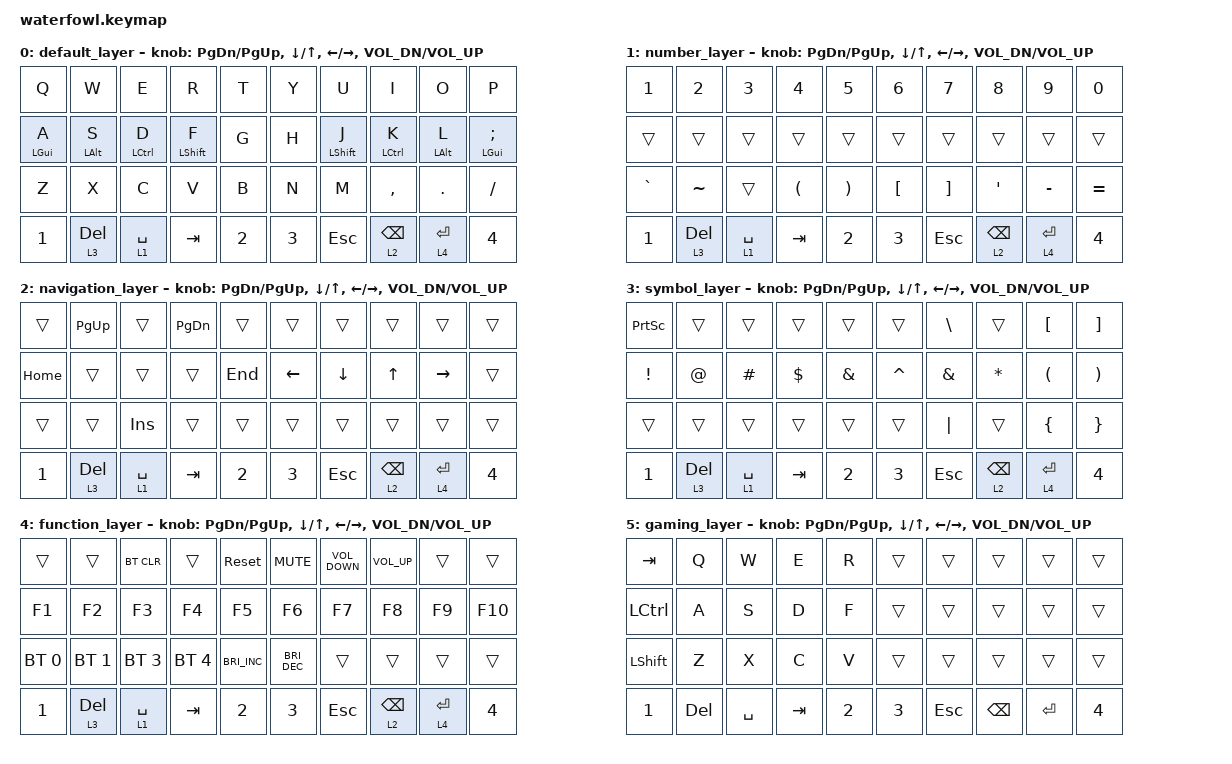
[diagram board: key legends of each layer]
/*
 * Copyright (c) 2022 The ZMK Contributors
 *
 * SPDX-License-Identifier: MIT
 */

#include <behaviors.dtsi>
#include <dt-bindings/zmk/keys.h>
#include <dt-bindings/zmk/bt.h>

/ {
    combos {
        compatible = "zmk,combos";

        combo_toggle_layer_5 {
            key-positions = <32 33 36 37>; // Replace with your 4 key positions
            bindings = <&tog 5>;
            timeout-ms = <50>;
            require-prior-idle-ms = <150>;
        };
    };
    keymap {
        compatible = "zmk,keymap";

        default_layer {
            /* QWERTY
             *
             * ,----------------------------------.                      ,----------------------------------.
             * |   Q  |   W  |   E  |   R  |   T  |                      |   Y  |   U  |   I  |   O  |   P  |
             * |------+------+------+------+------|                      |------+------+------+------+------|
             * |   A  |   S  |   D  |   F  |   G  |                      |   H  |   J  |   K  |   L  |   ;  |
             * |------+------+------+------+------|  ,-----.    ,-----.  |------+------+------+------+------|
             * |   Z  |   X  |   C  |   V  |   B  |  |  2  |    |  3  |  |   N  |   M  |   ,  |   .  |   /  |
             * `----------------------------------'  `-----'    `-----'  `----------------------------------'
             *          ,-----.   ,--------------------.            ,--------------------.   ,-----.
             *          |  1  |   | DEL | SPACE | TAB  |            |  ESC  | BS | ENTER |   |  4  |
             *          `-----'   `--------------------'            `--------------------'   `-----'
            */
            bindings = <
                &kp Q       &kp W       &kp E       &kp R       &kp T           &kp Y   &kp U       &kp I       &kp O       &kp P
                &mt LGUI A  &mt LALT S  &mt LCTRL D &mt LSHFT F &kp G           &kp H   &mt LSHFT J &mt LCTRL K &mt LALT L  &mt LGUI SEMI
                &kp Z       &kp X       &kp C       &kp V       &kp B           &kp N   &kp M       &kp COMMA   &kp DOT     &kp FSLH
                &kp N1      &lt 3 DEL   &lt 1 SPACE &kp TAB     &kp N2          &kp N3  &kp ESC     &lt 2 BSPC  &lt 4 RET   &kp N4
            >;

            sensor-bindings = <
                &inc_dec_kp PAGE_DOWN PAGE_UP
                &inc_dec_kp DOWN UP
                &inc_dec_kp LEFT RIGHT
                &inc_dec_kp C_VOL_DN C_VOL_UP
            >;
        };

        number_layer {
            /* NAVNUM
             *
             * ,----------------------------------.                      ,----------------------------------.
             * |   1  |   2  |   3  |   4  |  5   |                      |   6  |   7  |   8  |   9  |   0  |
             * |------+------+------+------+------|                      |------+------+------+------+------|
             * |      |      |      |      |      |                      |      |      |      |      |      |
             * |------+------+------+------+------|  ,-----.    ,-----.  |------+------+------+------+------|
             * |   `  |   ~  |      |  (   |  )   |  |  2  |    |  3  |  |   [  |  ]   |   '  |   -  |   =  |
             * `----------------------------------'  `-----'    `-----'  `----------------------------------'
             *          ,-----.   ,--------------------.            ,--------------------.   ,-----.
             *          |  1  |   | DEL | SPACE | TAB  |            |  ESC  | BS | ENTER |   |  4  |
             *          `-----'   `--------------------'            `--------------------'   `-----'
            */
            bindings = <
                &kp N1      &kp N2      &kp N3      &kp N4      &kp N5          &kp N6      &kp N7      &kp N8              &kp N9      &kp N0
                &trans      &trans      &trans      &trans      &trans          &trans      &trans      &trans              &trans      &trans
                &kp GRAVE   &kp TILDE   &trans      &kp LPAR    &kp RPAR        &kp LBKT    &kp RBKT    &kp SINGLE_QUOTE    &kp MINUS   &kp EQUAL
                &kp N1      &lt 3 DEL   &lt 1 SPACE &kp TAB     &kp N2          &kp N3      &kp ESC     &lt 2 BSPC          &lt 4 RET   &kp N4
            >;

            sensor-bindings = <
                &inc_dec_kp PAGE_DOWN PAGE_UP
                &inc_dec_kp DOWN UP
                &inc_dec_kp LEFT RIGHT
                &inc_dec_kp C_VOL_DN C_VOL_UP
            >;
        };
        navigation_layer {
            /* NAVNUM
             *
             * ,----------------------------------.                      ,----------------------------------.
             * |      | PgUp |      | PgDn |      |                      |      |      |      |      |      |
             * |------+------+------+------+------|                      |------+------+------+------+------|
             * | Home |      |      |      | End  |                      | Left | Down |  Up  | Right|      |
             * |------+------+------+------+------|  ,-----.    ,-----.  |------+------+------+------+------|
             * |      |      |  INS |      |      |  |  2  |    |  3  |  |      |      |      |      |      |
             * `----------------------------------'  `-----'    `-----'  `----------------------------------'
             *          ,-----.   ,--------------------.            ,--------------------.   ,-----.
             *          |  1  |   | DEL | SPACE | MO(3)|            |  ESC  | BS | ENTER |   |  4  |
             *          `-----'   `--------------------'            `--------------------'   `-----'
            */
            bindings = <
                &trans      &kp PG_UP   &trans      &kp PG_DN   &trans                  &trans      &trans      &trans      &trans      &trans
                &kp HOME    &trans      &trans      &trans      &kp END                 &kp LEFT    &kp DOWN    &kp UP      &kp RIGHT   &trans
                &trans      &trans      &kp INS     &trans      &trans                  &trans      &trans      &trans      &trans      &trans
                &kp N1      &lt 3 DEL   &lt 1 SPACE &kp TAB     &kp N2                  &kp N3      &kp ESC     &lt 2 BSPC  &lt 4 RET   &kp N4
            >;

            sensor-bindings = <
                &inc_dec_kp PAGE_DOWN PAGE_UP
                &inc_dec_kp DOWN UP
                &inc_dec_kp LEFT RIGHT
                &inc_dec_kp C_VOL_DN C_VOL_UP
            >;
        };

        symbol_layer {
            /* SYM
             *
             * ,----------------------------------.                      ,----------------------------------.
             * | PrtSc|      |      |      |      |                      |      |   \  |      |   [  |   ]  |
             * |------+------+------+------+------|                      |------+------+------+------+------|
             * |   !  |   @  |   #  |   $  |   %  |                      |   ^  |   &  |   *  |   (  |   )  |
             * |------+------+------+------+------|  ,-----.    ,-----.  |------+------+------+------+------|
             * |      |      |      |      |      |  |  2  |    |  3  |  |      |   |  |      |   {  |   }  |
             * `----------------------------------'  `-----'    `-----'  `----------------------------------'
             *          ,-----.   ,--------------------.            ,--------------------.   ,-----.
             *          |  1  |   | DEL | SPACE | TAB  |            |  ESC  | BS | ENTER |   |  4  |
             *          `-----'   `--------------------'            `--------------------'   `-----'
            */
            bindings = <
                &kp PRINTSCREEN &trans      &trans      &trans      &trans          &trans      &kp BSLH    &trans      &kp LBKT    &kp RBKT
                &kp EXCL        &kp AT      &kp HASH    &kp DLLR    &kp AMPS        &kp CARET   &kp AMPS    &kp ASTRK   &kp LPAR    &kp RPAR
                &trans          &trans      &trans      &trans      &trans          &trans      &kp PIPE    &trans      &kp LBRC    &kp RBRC
                &kp N1          &lt 3 DEL   &lt 1 SPACE &kp TAB     &kp N2          &kp N3      &kp ESC     &lt 2 BSPC  &lt 4 RET   &kp N4
            >;

            sensor-bindings = <
                &inc_dec_kp PAGE_DOWN PAGE_UP
                &inc_dec_kp DOWN UP
                &inc_dec_kp LEFT RIGHT
                &inc_dec_kp C_VOL_DN C_VOL_UP
            >;
        };

        function_layer {
            /* FUNC
             *
             * ,----------------------------------.                      ,----------------------------------.
             * |      |      | BTCLR|      | Reset|                      | VolM | VolD | VolU |      |      |
             * |------+------+------+------+------|                      |------+------+------+------+------|
             * |  F1  |  F2  |  F3  |  F4  |  F5  |                      |  F6  |  F7  |  F8  |  F9  |  F10 |
             * |------+------+------+------+------|  ,-----.    ,-----.  |------+------+------+------+------|
             * |  BT0 |  BT1 |  BT2 | BT3  | BT4  |  |  2  |    |  3  |  | BrgD | BrgU |      |      |      |
             * `----------------------------------'  `-----'    `-----'  `----------------------------------'
             *          ,-----.   ,--------------------.            ,--------------------.   ,-----.
             *          |  1  |   | DEL | SPACE | TAB  |            |  ESC  | BS | ENTER |   |  4  |
             *          `-----'   `--------------------'            `--------------------'   `-----'
            */
            bindings = <
                &trans          &trans          &bt BT_CLR      &trans          &sys_reset                  &kp K_MUTE              &kp K_VOLUME_DOWN   &kp K_VOLUME_UP &trans      &trans
                &kp F1          &kp F2          &kp F3          &kp F4          &kp F5                      &kp F6                  &kp F7              &kp F8          &kp F9      &kp F10
                &bt BT_SEL 0    &bt BT_SEL 1    &bt BT_SEL 3    &bt BT_SEL 4    &kp C_BRIGHTNESS_INC        &kp C_BRIGHTNESS_DEC    &trans              &trans          &trans      &trans
                &kp N1          &lt 3 DEL       &lt 1 SPACE     &kp TAB         &kp N2                      &kp N3                  &kp ESC             &lt 2 BSPC      &lt 4 RET   &kp N4
            >;

            sensor-bindings = <
                &inc_dec_kp PAGE_DOWN PAGE_UP
                &inc_dec_kp DOWN UP
                &inc_dec_kp LEFT RIGHT
                &inc_dec_kp C_VOL_DN C_VOL_UP
            >;
        };

        gaming_layer {
            /* GAMING
             *
             * ,----------------------------------.                      ,----------------------------------.
             * |  TAB |   Q  |   W  |   E  |   R  |                      |   0  |   0  |   0  |   0  |   0  |
             * |------+------+------+------+------|                      |------+------+------+------+------|
             * | LCTRL|   A  |   S  |   D  |   F  |                      |   0  |   0  |   0  |   0  |   0  |
             * |------+------+------+------+------|  ,-----.    ,-----.  |------+------+------+------+------|
             * | LSHFT|   Z  |   X  |   C  |   V  |  |  2  |    |  3  |  |   0  |   0  |   0  |   0  |   0  |
             * `----------------------------------'  `-----'    `-----'  `----------------------------------'
             *          ,-----.   ,--------------------.            ,--------------------.   ,-----.
             *          |  1  |   | DEL | SPACE | TAB  |            |  ESC  | BS | ENTER |   |  4  |
             *          `-----'   `--------------------'            `--------------------'   `-----'
            */
            bindings = <
                &kp TAB     &kp Q       &kp W       &kp E       &kp R           &trans  &trans      &trans      &trans      &trans
                &kp LCTRL   &kp A       &kp S       &kp D       &kp F           &trans  &trans      &trans      &trans      &trans
                &kp LSHFT   &kp Z       &kp X       &kp C       &kp V           &trans  &trans      &trans      &trans      &trans
                &kp N1      &kp DEL     &kp SPACE   &kp TAB     &kp N2          &kp N3  &kp ESC     &kp BSPC    &kp RET     &kp N4
            >;

            sensor-bindings = <
                &inc_dec_kp PAGE_DOWN PAGE_UP
                &inc_dec_kp DOWN UP
                &inc_dec_kp LEFT RIGHT
                &inc_dec_kp C_VOL_DN C_VOL_UP
            >;
        };

    };
};
